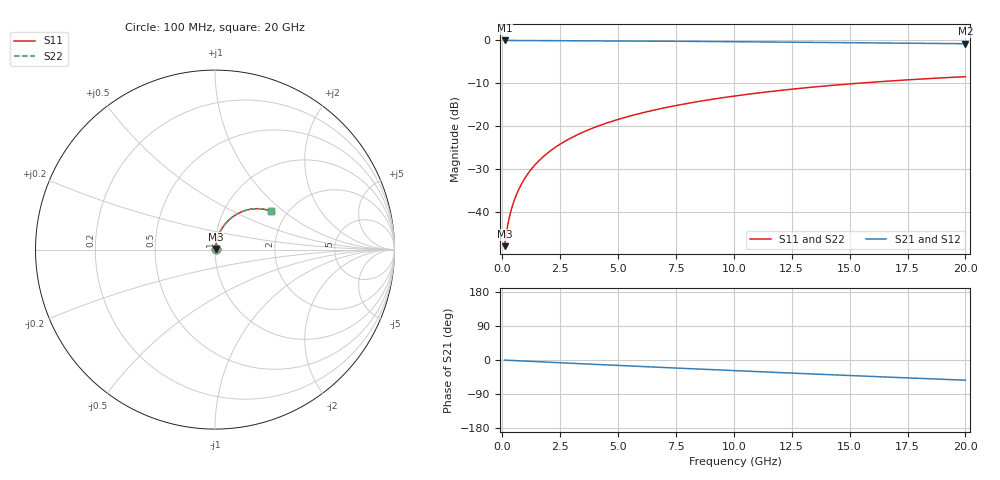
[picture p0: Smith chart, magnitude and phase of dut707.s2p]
! Touchstone file exported from HFSS 2026.1.0
!  File:  C:/ffzhzh/LocalFiles/Ansys_Project_Files/temp_train_TMRDL_707_1783154528_43440.aedt
!  Generated:  04:43:33 PM Jul  4, 2026
!  Design:  TMRDL
!  Project:  temp_train_TMRDL_707_1783154528_43440
! Variables:
!  h_bsmrdl = 2um
!  h_ox = 20um
!  h_rdl = 5um
!  h_sub = 80um
!  h_tmrdl = 4.49um
!  h_tsv = 80um
!  h_via = 3um
!  l_bsmrdl = 300um
!  l_sub = 1255.65um
!  l_tmrdl = 855.65um
!  m_sub = 200um
!  pitch = 48.22um
!  r_tsv = 6um
!  s_tmrdl = 10um
!  w_bsmrdl = 18um
!  w_sub = 500um
!  w_tmrdl = 26.16um
!  x_tsv_center1 = 868.73um
!  x_tsv_center2 = 1186.73um
!  x_tsv_center3 = 2068.54um
!  x_tsv_center4 = 2386.54um
!  x_tsv_center5 = 3268.35um
!  x_tsv_center6 = 3586.35um
# GHz S MA R 50.000000
! Terminal data exported
! Port[1] = TM_RDL1_1_T1
! Port[2] = TM_RDL1_1_T2
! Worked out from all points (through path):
!   200 points, 100 MHz to 20 GHz, reference 50 ohm
!   highest |S21| = -0.02 dB at 100 MHz (marker M1); lowest = -0.8 dB at 20 GHz (marker M2)
!   group delay of S21, straight-line fit = 7.4 ps
!   lowest |S11| = -48.0 dB at 100 MHz (marker M3), VSWR 1.01, Z = 50.3 + j0.282 ohm
!   |S11| at or under -10 dB: start of sweep to 15.38 GHz
!   |S22| runs from -48.0 to -8.5 dB; largest |S21 - S12| = 1.6e-14
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0.1  0.003987 44.7  0.9972 -0.3  0.9972 -0.3  0.003987 44.7
! Gamma 0 0 0 0
! Port Impedance 50 0 50 0
0.2  0.006244 60.0  0.9969 -0.6  0.9969 -0.6  0.006244 60.0
0.3  0.008573 66.7  0.9967 -0.9  0.9967 -0.9  0.008573 66.7
0.4  0.01091 70.7  0.9965 -1.2  0.9965 -1.2  0.01091 70.7
0.5  0.01328 73.3  0.9964 -1.5  0.9964 -1.5  0.01328 73.3
0.6  0.01566 75.1  0.9963 -1.8  0.9963 -1.8  0.01566 75.1
0.8  0.02048 77.3  0.9961 -2.3  0.9961 -2.3  0.02048 77.3
1.1  0.02776 78.8  0.9958 -3.2  0.9958 -3.2  0.02776 78.8
1.5  0.03751 79.4  0.9952 -4.4  0.9952 -4.4  0.03751 79.4
1.8  0.04481 79.3  0.9947 -5.2  0.9947 -5.2  0.04481 79.3
2.1  0.05207 78.9  0.9942 -6.1  0.9942 -6.1  0.05207 78.9
2.7  0.06647 77.9  0.9928 -7.8  0.9928 -7.8  0.06647 77.9
3.5  0.08536 76.1  0.9906 -10.1  0.9906 -10.1  0.08536 76.1
4.2  0.1016 74.3  0.9885 -12.1  0.9885 -12.1  0.1016 74.3
5  0.1197 72.3  0.9858 -14.3  0.9858 -14.3  0.1197 72.3
5.9  0.1396 70.0  0.9824 -16.8  0.9824 -16.8  0.1396 70.0
6.8  0.1591 67.6  0.9788 -19.3  0.9788 -19.3  0.1591 67.6
8.3  0.1903 63.8  0.9724 -23.4  0.9724 -23.4  0.1903 63.8
10.1  0.2258 59.2  0.9639 -28.3  0.9639 -28.3  0.2258 59.2
13.4  0.2848 50.9  0.9472 -36.9  0.9472 -36.9  0.2848 50.9
16.7  0.3354 42.8  0.93 -45.2  0.93 -45.2  0.3355 42.8
20  0.3773 34.9  0.9136 -53.3  0.9136 -53.3  0.3773 34.9
